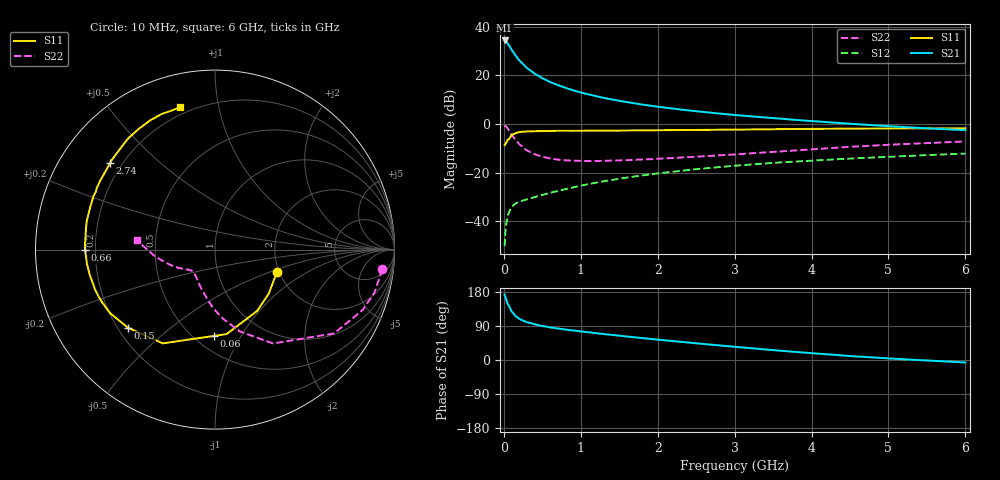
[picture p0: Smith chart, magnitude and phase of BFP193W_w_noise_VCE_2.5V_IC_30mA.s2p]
! Infineon Technologies  Discrete & RF Semiconductors
! BFP193W
! VCE = 2.5 V,  IC =  30 mA
! Common Emitter S-Parameters:  Jan 2016
# GHz  S  MA  R  50
!  f  S11  S21  S12  S22
! GHz  MAG  ANG  MAG  ANG  MAG  ANG  MAG  ANG
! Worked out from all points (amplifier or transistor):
!   210 points, 10 MHz to 6 GHz, reference 50 ohm
!   highest |S21| = 34.3 dB at 10 MHz (marker M1)
!   |S21| within 3 dB of that: start of sweep to 84.86 MHz
!   unconditionally stable (mu >= 1): 760.3 MHz to 3.988 GHz
!   at 185 MHz: K = 0.43, MSG = 29.5 dB, |S12| = -32.1 dB
!   at 1.52 GHz: K = 1.13, MAG = 13.7 dB, |S12| = -22.4 dB
!   at 6 GHz: K = 0.94, MSG = 4.8 dB, |S12| = -12.1 dB
!   lowest NFmin = 1.90 dB at 450 MHz
!   S11 on the Smith chart (normalised r, x): 10 MHz: 1.94, -0.56; 60 MHz: 0.62, -0.77; 150 MHz: 0.24, -0.36; 660 MHz: 0.16, -0.00; 2.74 GHz: 0.16, +0.35; 6 GHz: 0.16, +0.77
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0.01  0.3669 -20.0  51.95 172.2  0.0031 86.1  0.9381 -6.7
0.02  0.3874 -39.4  51.18 166.2  0.0059 75.9  0.9202 -15.1
0.03  0.4148 -55.6  49.69 159.8  0.0087 76.6  0.8891 -22.2
0.05  0.475 -82.2  45.21 148.1  0.0132 63.8  0.8117 -35.1
0.06  0.481 -90.8  42.6 145.0  0.0145 60.1  0.7641 -38.7
0.1  0.5978 -119.1  33.87 128.2  0.0199 50.2  0.6156 -58.2
0.15  0.6517 -138.1  25.72 116.1  0.0232 43.8  0.476 -73.2
0.2  0.6834 -148.8  20.33 108.7  0.0254 41.4  0.3869 -83.5
0.24  0.6935 -154.7  17.48 104.7  0.0267 41.8  0.3412 -89.5
0.3  0.7039 -161.2  14.13 99.8  0.0283 42.8  0.2873 -97.5
0.4  0.7119 -168.7  10.79 93.9  0.0315 44.7  0.2398 -107.0
0.5  0.7179 -173.7  8.722 89.6  0.035 47.9  0.2131 -114.2
0.66  0.7234 -179.7  6.705 84.4  0.0408 51.4  0.1897 -122.4
0.8  0.724 176.4  5.516 80.4  0.0461 53.9  0.1795 -127.4
1.02  0.7278 171.2  4.348 75.0  0.055 56.3  0.1747 -133.4
1.4  0.7332 163.4  3.196 66.2  0.0709 58.0  0.1773 -139.1
2.02  0.7429 152.2  2.243 53.3  0.0976 57.4  0.1939 -144.9
2.74  0.7575 140.6  1.675 39.6  0.1281 53.7  0.2246 -152.6
3.1  0.7673 135.1  1.484 33.2  0.143 51.4  0.2431 -157.0
4.1  0.7968 121.2  1.12 16.5  0.1811 44.3  0.3091 -169.7
5.1  0.8113 110.9  0.882 3.0  0.2156 37.6  0.3809 179.5
6  0.8163 103.8  0.748 -6.6  0.2472 32.1  0.4379 172.9
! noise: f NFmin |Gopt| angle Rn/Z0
0.45  1.9  0.4  180  0.09
0.9  1.95  0.43  -173  0.11
1.8  2.4  0.58  -144  0.24
